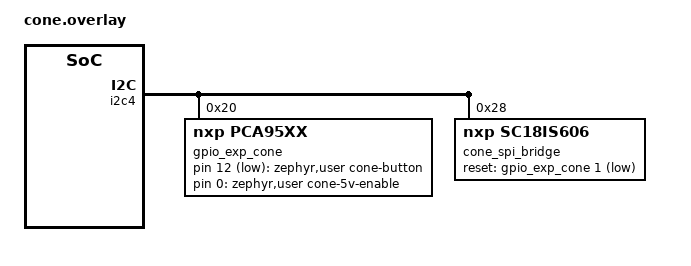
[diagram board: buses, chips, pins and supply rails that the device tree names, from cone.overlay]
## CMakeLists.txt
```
cmake_minimum_required(VERSION 3.20.0)
set(TARGET app)

get_filename_component(PROJECT_DIR ${CMAKE_CURRENT_SOURCE_DIR}/.. ABSOLUTE)
if (EXISTS ${PROJECT_DIR}/../public)
    get_filename_component(WORKSPACE_DIR ${PROJECT_DIR}/../../ ABSOLUTE)
else()
    get_filename_component(WORKSPACE_DIR ${PROJECT_DIR}/../ ABSOLUTE)
endif()

message(STATUS "Project directory: ${PROJECT_DIR}")
message(STATUS "Workspace directory: ${WORKSPACE_DIR}")

set(APP_FILES_COMPILE_OPTIONS -Wextra)
if ("${CMAKE_BUILD_TYPE}" STREQUAL "Release")
    message(STATUS "⚡️Release image: maximum optimization for speed")

    # Add configuration file to overwrite debug configuration
    list(APPEND OVERLAY_CONFIG "release.conf")
elseif ("${CMAKE_BUILD_TYPE}" STREQUAL "Service")
    message(STATUS "🛠️ Service image: optimized for size, logging & CLI enabled")

    set(PEARL_MAIN_EXTEND_PARTITION 1)
    set(OVERLAY_CONFIG
            "debug.conf service.conf ${OVERLAY_CONFIG}"
            CACHE STRING "" FORCE)
    set(DTC_OVERLAY_FILE
            "debug.overlay;${DTC_OVERLAY_FILE}"
            CACHE STRING "" FORCE)
else ()
    message(STATUS "⚙️ Debug image: minimal optimization, debug info included, logging & CLI enabled")
    add_compile_options(-Og -g)

    set(PEARL_MAIN_EXTEND_PARTITION 1)
    set(OVERLAY_CONFIG
            "debug.conf ${OVERLAY_CONFIG}"
            CACHE STRING "" FORCE)
    set(DTC_OVERLAY_FILE
            "debug.overlay;${DTC_OVERLAY_FILE}"
            CACHE STRING "" FORCE)
endif ()

# Generate version for the current project
# CMake will re-run if file "VERSION" changes
include(${PROJECT_DIR}/utils/cmake/version.cmake)
application_version(APP_VERSION)
message(STATUS "Application version: ${APP_VERSION}")
set_property(
    DIRECTORY
    APPEND
    PROPERTY CMAKE_CONFIGURE_DEPENDS ${PROJECT_DIR}/VERSION
)

# optional Orb variable allows to select the board
if ("$ENV{ORB}" STREQUAL "pearl")
    unset(BOARD CACHE)
    set(ENV{BOARD} pearl_main)
elseif ("$ENV{ORB}" STREQUAL "diamond")
    unset(BOARD CACHE)
    set(ENV{BOARD} diamond_main)
endif ()

list(APPEND BOARD_ROOT ${PROJECT_DIR})
list(APPEND DTS_ROOT ${PROJECT_DIR})

# Load private & custom board configuration.
# Private config is not available publicly as the name suggests.
# The package is thus optional.
list(APPEND CMAKE_MODULE_PATH ${WORKSPACE_DIR}/orb/private/utils/cmake)
find_package(McuPrivate)

# Add a common dts overlay necessary to ensure the app is linked into,
# and fits inside, the slot0 partition. (If the user specified a
# DTC_OVERLAY_FILE on the CMake command line, we need to append onto
# the list).
list(APPEND DTC_OVERLAY_FILE ${CMAKE_CURRENT_LIST_DIR}/dts.overlay)

# for pearl_main board service & debug image, the image won't fit so we extends the partition size
if (PEARL_MAIN_EXTEND_PARTITION AND ${BOARD} STREQUAL "pearl_main")
    message(WARNING "Extending partition size for pearl_main to fit service/debug images, DFU won't be possible.")
    list(APPEND DTC_OVERLAY_FILE one_slot.overlay)
endif()
message(STATUS "Using DTC overlay files: ${DTC_OVERLAY_FILE}")

# In case we don't use West to build, add our local modules to the list
list(APPEND ZEPHYR_EXTRA_MODULES ${PROJECT_DIR})

find_package(Zephyr REQUIRED HINTS $ENV{ZEPHYR_BASE})
project(orb-mcu-main-app)

# SINE_TABLE_LENGTH defined for values from 0 to pi/2 (0..1)
set(SINE_TABLE_LENGTH 150)
add_compile_definitions(SINE_TABLE_LENGTH=${SINE_TABLE_LENGTH})
set(SINE_LUT_SRC_FILE ${CMAKE_BINARY_DIR}/zephyr/sine_lut.c)
add_custom_command(OUTPUT ${SINE_LUT_SRC_FILE}
    COMMAND ${PYTHON_EXECUTABLE} ${PROJECT_DIR}/utils/math/generate_half_sine.py ${SINE_TABLE_LENGTH} > ${SINE_LUT_SRC_FILE})

set(SOURCES_FILES)
# common source files
list(APPEND SOURCES_FILES
    src/main.c

    src/optics/optics.c
    src/optics/1d_tof/tof_1d.c
    src/optics/ir_camera_system/ir_camera_timer_settings.c
    src/optics/ir_camera_system/ir_camera_system_hw.c
    src/optics/ir_camera_system/ir_camera_system.c
    src/optics/liquid_lens/liquid_lens.c
    src/optics/mirror/mirror.c
    src/optics/mirror/mirror_private.c

    src/power/boot/boot.c

    src/pubsub/pubsub.c
    src/runner/runner.c

    src/system/config/config.c
    src/system/diag.c
    src/system/logs.c
    src/system/ping_sec.c
    src/system/version/version.c
    src/system/stm32_timer_utils/stm32_timer_utils.c

    src/temperature/sensors/temperature.c
    src/temperature/fan/fan.c
    src/temperature/fan/fan_tests.c

    src/voltage_measurement/voltage_measurement.c

    ${SINE_LUT_SRC_FILE}
    src/ui/ui.c
    src/ui/ambient_light/als.c
    src/ui/button/button.c
    src/ui/rgb_leds/rgb_leds.c
    src/ui/rgb_leds/front_leds/front_leds.c
    src/ui/rgb_leds/operator_leds/operator_leds.c
    src/ui/rgb_leds/operator_leds/operator_leds_tests.c
    src/ui/sound/sound.c
    )

if (CONFIG_BOARD_PEARL_MAIN)
    list(APPEND SOURCES_FILES
            src/gnss/gnss.c
            src/optics/mirror/homing_pearl.c
            src/optics/ir_camera_system/ir_leds_checks_pearl.c
            src/power/battery/battery_ruby.c
            src/temperature/fan/fan_tach.c
            src/temperature/fan/fan_tach.c)
endif()

if (CONFIG_BOARD_DIAMOND_MAIN)
    list(APPEND SOURCES_FILES
        src/optics/mirror/homing_diamond.c
        src/optics/ir_camera_system/ir_leds_checks_diamond.c
        src/optics/polarizer_wheel/drv8434s/drv8434s_private.c
        src/optics/polarizer_wheel/drv8434s/drv8434s.c
        src/optics/polarizer_wheel/polarizer_wheel.c
        src/power/battery/battery_amber.c
        src/temperature/fan/fan_tach_coarse.c
        src/ui/nfc/nfc.c
        src/ui/white_leds/white_leds.c
    )
    if (CONFIG_DT_HAS_DIAMOND_CONE_ENABLED)
        list(APPEND SOURCES_FILES src/ui/rgb_leds/cone_leds/cone_leds.c)
    endif()
endif()

if (CONFIG_ZTEST)
    list(APPEND SOURCES_FILES
        src/voltage_measurement/voltage_measurement_tests.c
        src/optics/ir_camera_system/ir_camera_system_tests.c
        src/optics/mirror/mirror_tests.c
        src/system/dfu/dfu_tests.c
        src/temperature/fan/fan_tests.c
        src/ui/rgb_leds/front_leds/front_leds_tests.c
        )
    if (CONFIG_TEST_CONFIG)
        list(APPEND SOURCES_FILES src/system/config/config_tests.c)
    endif()
    if (CONFIG_NO_JETSON_BOOT)
        list(REMOVE_ITEM SOURCES_FILES src/pubsub/pubsub.c)
        list(APPEND SOURCES_FILES src/pubsub/pubsub_tests.c)
    endif()
    if (CONFIG_BOARD_DIAMOND_MAIN)
        list(APPEND SOURCES_FILES
            src/ui/rgb_leds/cone_leds/cone_leds_tests.c
            src/optics/polarizer_wheel/polarizer_wheel_tests.c)
    endif()
endif ()

if (CONFIG_SHELL)
    list(APPEND SOURCES_FILES src/cli/cli.c)
endif ()

if (CONFIG_TRACING_USER)
    list(APPEND SOURCES_FILES src/system/tracing_user.c)
endif()

if (CONFIG_MEMFAULT_METRICS)
    list(APPEND SOURCES_FILES src/system/metrics.c)
endif()

set(INCLUDE_DIRS
    include
    src
    )

# EXTRA_COMPILE_FLAGS given via `west build -- -DEXTRA_COMPILE_FLAGS=...`
set_source_files_properties(${SOURCES_FILES} PROPERTIES COMPILE_OPTIONS "${APP_FILES_COMPILE_OPTIONS};${EXTRA_COMPILE_FLAGS}")

target_sources(${TARGET} PRIVATE ${SOURCES_FILES})
target_include_directories(${TARGET} PRIVATE ${INCLUDE_DIRS})
zephyr_include_directories(config)

zephyr_linker_sources(SECTIONS
        config/compact-logs.ld
        config/orb-states.ld)

# link with Zephyr modules below
# - bootloader/mcuboot/boot/bootutil: public functions to access/modify mcuboot data from the application
if (CONFIG_MCUBOOT_BOOTUTIL_LIB)
    # check path is absolute
    if (IS_ABSOLUTE ${CONFIG_MCUBOOT_SIGNATURE_KEY_FILE})
        set(MCUBOOT_SIGNATURE_KEY_FILE ${CONFIG_MCUBOOT_SIGNATURE_KEY_FILE})
    else ()
        set(MCUBOOT_SIGNATURE_KEY_FILE ${WEST_TOPDIR}/${CONFIG_MCUBOOT_SIGNATURE_KEY_FILE})
    endif ()
    if (IS_ABSOLUTE ${CONFIG_MCUBOOT_ENCRYPTION_KEY_FILE})
        set(MCUBOOT_ENCRYPTION_KEY_FILE ${CONFIG_MCUBOOT_ENCRYPTION_KEY_FILE})
    else ()
        set(MCUBOOT_ENCRYPTION_KEY_FILE ${WEST_TOPDIR}/${CONFIG_MCUBOOT_ENCRYPTION_KEY_FILE})
    endif ()
    # check if files exist
    if (NOT EXISTS "${MCUBOOT_SIGNATURE_KEY_FILE}" OR NOT EXISTS "${MCUBOOT_ENCRYPTION_KEY_FILE}")
        message(FATAL_ERROR "Missing signature files, use 'generate_dev_keys'")
    else ()
        message(STATUS "Using signature key file: ${MCUBOOT_SIGNATURE_KEY_FILE}")
        message(STATUS "Using encryption key file: ${MCUBOOT_ENCRYPTION_KEY_FILE}")
    endif ()
    zephyr_link_libraries(MCUBOOT_BOOTUTIL)
endif ()
```

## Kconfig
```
menu "Main MCU Options"

menu "Log levels"
rsource "log_levels.Kconfig"
endmenu

config RDP_ENABLE
    bool "Enable RDP (Readout Protection)"
    default n
    select USE_STM32_HAL_RTC
    select USE_STM32_HAL_RTC_EX
    select USE_STM32_HAL_PWR
    help
      Enable RDP on STM32G4. This will prevent reading the content of the STM32G4
      memory with a debugger. This is useful for production
      devices, but not for development.

config PROXIMITY_DETECTION_FOR_IR_SAFETY
    bool "Ensure safe usage of IR LEDs."
    default y
    help
        Use 1d-tof sensor to detect any object in close proximity and disable IR LED.

comment "Diamond options"

config DT_HAS_DIAMOND_CONE_ENABLED
	def_bool $(dt_nodelabel_enabled,cone_spi_bridge)
	select SC18IS606

config JETSON_FIRST_MESSAGE_TIMEOUT
    bool "Reset the Orb if Jetson never sends a message after boot"
    depends on BOARD_DIAMOND_MAIN
    default y
    help
      If no Jetson message is received within
      CONFIG_JETSON_FIRST_MESSAGE_TIMEOUT_S of the Jetson being powered on,
      assume it's dead/unresponsive and reset the MCU (NVIC_SystemReset),
      which power-cycles the whole Orb.

config JETSON_FIRST_MESSAGE_TIMEOUT_S
    int "Timeout before JETSON_FIRST_MESSAGE_TIMEOUT resets the Orb"
    depends on JETSON_FIRST_MESSAGE_TIMEOUT
    default 600
    help
      Number of seconds after the Jetson is powered on to wait for the
      first Jetson message before resetting the Orb. Overridable per build
      (e.g. for bench/HIL verification without waiting 10 minutes).

comment "Developer options"

config HIL_TESTS
    bool "Enable hardware-in-the-loop tests"
    default n
    select INSTA_BOOT
    select NO_JETSON_BOOT
    select APP_TESTS_ALL
    help
      Enable hardware-in-the-loop tests. This will enable a set of
      integration tests that can be run with the HIL test setup.

config INSTA_BOOT
    bool "Boot right away without waiting for a button press"
    default n

config NO_JETSON_BOOT
    bool "Do not boot the Jetson"
    default n

config NO_SUPER_CAPS
    bool "Do not turn on super capacitor charging"

config MCU_DEVEL
    bool "Enable all developer options"
    select INSTA_BOOT
    select NO_JETSON_BOOT
    select NO_SUPER_CAPS

comment "Integration tests"

config TEST_VOLTAGE_MEASUREMENT
    bool "Test the supply voltages"

config TEST_MIRROR
    bool "Test the mirror control"

config TEST_DFU
    bool "Test device firmware upgrade"

config TEST_OPERATOR_LEDS
    bool "Test operator LEDs"

config TEST_USER_LEDS
    bool "Test user/front LEDs"
    help
      Tests all the user LED patterns. Visual inspection is needed to check
      for correct pattern implementation.

config TEST_IR_CAMERA_SYSTEM_WITH_PROBE
    bool "Test the IR camera system"
    help
      The IR/Camera test has to be verified using a scope
      or logic analyzer.

config TEST_FAN
    bool "Test fan"

config TEST_GNSS
	bool "Test GNSS frame parsing"

config TEST_POLARIZER_WHEEL
    bool "Test polarizer wheel (Diamond only)"
    depends on BOARD_DIAMOND_MAIN
    help
      Test polarizer wheel homing and positioning.
      Requires Diamond hardware with polarizer wheel installed.

config TEST_CONFIG
    bool "Test persistent config module"

config APP_TESTS_ALL
    bool "Enable all integration tests"
    select TEST_VOLTAGE_MEASUREMENT
    select TEST_MIRROR
    select TEST_DFU
    select TEST_OPERATOR_LEDS
    select TEST_USER_LEDS
    select TEST_GNSS
    select TEST_POLARIZER_WHEEL if BOARD_DIAMOND_MAIN
    select ORB_LIB_STORAGE_TESTS
    select TEST_CONFIG

config CI_INTEGRATION_TESTS
	bool "Send specific string in logs when testing UART with mcu-util"
	default n
	select NO_SUPER_CAPS
	help
	  UART communication is unidirectional and doesn't allow
	  the MCU to respond to the Jetson. To allow the Jetson to confirm
	  that the MCU is receiving its UART messages, this option configures
	  the MCU to emit a special log message when it successfully receives UART
	  communications from the Jetson. The Jetson can then look for this special
	  log message to confirm the UART channel to the MCU is working.

endmenu

menu "Zephyr Options"
source "Kconfig.zephyr"
endmenu
```

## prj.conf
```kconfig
# Common configuration for main MCU firmware

CONFIG_CLOCK_CONTROL=y
CONFIG_PINCTRL=y
CONFIG_SERIAL=y
CONFIG_GPIO=y

CONFIG_THREAD_CUSTOM_DATA=y
# needed for Memfault stack usage computation
CONFIG_INIT_STACKS=y
CONFIG_THREAD_STACK_INFO=y

CONFIG_MAIN_THREAD_PRIORITY=5
CONFIG_MAIN_STACK_SIZE=2048

CONFIG_SYSTEM_WORKQUEUE_STACK_SIZE=2048

CONFIG_HEAP_MEM_POOL_SIZE=256

CONFIG_RTC=y
CONFIG_RTC_STM32=y

CONFIG_BBRAM=y
CONFIG_BBRAM_STM32=y

# Data structures
CONFIG_RING_BUFFER=y

# UART
CONFIG_UART_ASYNC_API=y

# Floating Point Options
CONFIG_PICOLIBC=y
CONFIG_PICOLIBC_IO_FLOAT=y
CONFIG_FPU=y
CONFIG_FPU_SHARING=y

# CAN bus
CONFIG_CAN=y
CONFIG_CAN_FD_MODE=y
# automatic recovery doesn't work so recover manually FIXME
CONFIG_CAN_MANUAL_RECOVERY_MODE=y
CONFIG_CAN_ADDRESS_JETSON_TO_MCU_RX=0x01
# Jetson address
CONFIG_CAN_ADDRESS_MCU_TO_JETSON_TX=0x80
# MCU-to-MCU communication address
CONFIG_CAN_ADDRESS_MCU_TO_MCU_RX=0x41
# 4-bit ID used to create addresses
CONFIG_CAN_ISOTP_REMOTE_ID=0x8
CONFIG_CAN_ISOTP_LOCAL_ID=0x1
CONFIG_CAN_ISOTP_MAX_SIZE_BYTES=690
CONFIG_ORB_LIB_CAN_ISOTP_BLOCKSIZE=8

# ISO-TP config, no log from ISO-TP module
CONFIG_ISOTP=y
CONFIG_ISOTP_FC_DELAY_US=100

# RX_BUF is used to receive one block. 56-byte long: BS=8 and CAN_DL-1=7 + FF (6), 8*7+6=62
CONFIG_ISOTP_RX_BUF_SIZE=62
# We need at least 10 buffers to receive messages of 560-byte long (CONFIG_ISOTP_RX_BUF_SIZE*10)
# With several rx contexts, allocate at least twice this amount
CONFIG_ISOTP_RX_BUF_COUNT=20
# We have 8 rx contexts, so allocate that amount of buffers for First Frames or Single Frames
CONFIG_ISOTP_RX_SF_FF_BUF_COUNT=8

# PWM
CONFIG_PWM_STM32=y
CONFIG_PWM=y

# ADC
CONFIG_ADC=y
CONFIG_ADC_STM32=y
CONFIG_ADC_STM32_DMA=y

# Sensors
CONFIG_SENSOR=y
CONFIG_TMP112=y
CONFIG_MAX31875=y
CONFIG_VL53L1X=y
CONFIG_VL53L1X_INTERRUPT_MODE=n
CONFIG_VL53L1X_XSHUT=n

# I2C
CONFIG_I2C=y
CONFIG_I2C_STM32=y
CONFIG_I2C_INIT_PRIORITY=60

# SPI
CONFIG_SPI=y
CONFIG_SPI_STM32_INTERRUPT=y

# Stepper motor controller
CONFIG_STEPPER=y

# Our custom modules
CONFIG_NANOPB=y
CONFIG_ORB_MCU_MESSAGING_LIB=y
CONFIG_ORB_LIB_CAN_MESSAGING=y
CONFIG_ORB_LIB_UART_MESSAGING=y
CONFIG_ORB_LIB_ERRORS=y
CONFIG_ORB_LIB_DATE=y
CONFIG_ORB_LIB_DFU=y
CONFIG_ORB_LIB_STORAGE=y
CONFIG_WATCHDOG=y
CONFIG_ORB_LIB_WATCHDOG=y
CONFIG_ORB_LIB_WATCHDOG_SYS_INIT=y
CONFIG_ORB_LIB_HEALTH_MONITORING=y
CONFIG_ORB_LIB_THREAD_STACK_SIZE_HEARTBEAT=800
CONFIG_ORB_LIB_LOGS_CAN=y
# Same priority as CAN RX and TX threads to make sure other threads cannot block DFU
# and brick the device
CONFIG_ORB_LIB_THREAD_PRIORITY_CANBUS_RX=5
CONFIG_ORB_LIB_THREAD_PRIORITY_CANBUS_TX=5
CONFIG_ORB_LIB_THREAD_PRIORITY_DFU=8
CONFIG_ORB_LIB_THREAD_STACK_SIZE_DFU=3000

# DMA
CONFIG_DMA=y
CONFIG_DMA_STM32=y

# Interrupt handling
CONFIG_DYNAMIC_INTERRUPTS=y

# Bootloader
# Enable Zephyr application to be booted by MCUboot
CONFIG_BOOTLOADER_MCUBOOT=y
# Path to signature file. Must be absolute or relative to West top dir
# dev key, redefined for production
CONFIG_MCUBOOT_SIGNATURE_KEY_FILE="orb/utils/ota/root-ec-p256.pem"
CONFIG_MCUBOOT_ENCRYPTION_KEY_FILE="orb/utils/ota/enc-ec256-pub.pem"
CONFIG_MCUBOOT_BOOTUTIL_LIB=y
CONFIG_BOOT_BANNER=n

# Flash management, needed for DFU
CONFIG_FLASH=y
CONFIG_FLASH_MAP=y
CONFIG_FLASH_STM32_READOUT_PROTECTION=y
CONFIG_FLASH_EX_OP_ENABLED=y
CONFIG_RDP_ENABLE=y

CONFIG_REBOOT=y

# entropy driver needed for STACK_CANARIES & STACK_RANDOM_POINTER in release mode
# also needed when testing errors
CONFIG_ENTROPY_GENERATOR=y

CONFIG_CRC=y

CONFIG_LED_STRIP=y

CONFIG_GNU_C_EXTENSIONS=y
CONFIG_STD_C23=y
```

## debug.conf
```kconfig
# Configuration file for the main MCU firmware when compiled in Debug / Dev mode

CONFIG_DEBUG_OPTIMIZATIONS=y
# -fstore-merging is needed to reduce code used by logging subsystem
CONFIG_COMPILER_OPT="-O1 -g3 -fstore-merging"

# Debug mode
CONFIG_DEBUG=y

# Verbose verifications
CONFIG_ASSERT=y
CONFIG_SPIN_VALIDATE=y
CONFIG_TRACING=y
CONFIG_TRACING_USER=y

# Console
CONFIG_CONSOLE=y
CONFIG_UART_CONSOLE=y

# In Debug mode, Zephyr's logging is enabled
CONFIG_LOG=y
CONFIG_LOG_DEFAULT_LEVEL=2
# Switch between deferred and immediate
# Prefer the deferred mode so that the logging thread, which has the lowest priority
# runs every CONFIG_LOG_PROCESS_THREAD_SLEEP_MS in the background (doesn't take CPU time to print the log)
CONFIG_LOG_MODE_DEFERRED=y
# CONFIG_LOG_MODE_IMMEDIATE=y
# Logs over CAN
CONFIG_ORB_LIB_LOG_BACKEND_CAN=y
# Logs over UART
CONFIG_LOG_BACKEND_UART=y
CONFIG_LOG_BUFFER_SIZE=2048
CONFIG_LOG_BACKEND_UART_BUFFER_SIZE=128
CONFIG_CBPRINTF_LIBC_SUBSTS=y
CONFIG_CBPRINTF_NANO=y
CONFIG_LOG_PROCESS_THREAD=y
CONFIG_LOG_PROCESS_THREAD_SLEEP_MS=100
CONFIG_LOG_PROCESS_TRIGGER_THRESHOLD=2
CONFIG_LOG_PROCESS_THREAD_STACK_SIZE=4096
CONFIG_ORB_LIB_LOG_BACKEND_CAN=y
CONFIG_LOG_PRINTK=y
CONFIG_LOG_BACKEND_SHOW_COLOR=y

# Per module
CONFIG_KERNEL_LOG_LEVEL_WRN=y
CONFIG_MAIN_LOG_LEVEL_INF=y
CONFIG_VERSION_LOG_LEVEL_INF=y
CONFIG_ASSERT_LOG_LEVEL_WRN=y
CONFIG_BOOT_LOG_LEVEL_INF=y
CONFIG_POLARIZER_LOG_LEVEL_INF=y
CONFIG_IR_LEDS_CHECKS_LOG_LEVEL_INF=y

# Uncomment to enable thread analyzer
# CONFIG_THREAD_ANALYZER=y
# CONFIG_THREAD_ANALYZER_USE_PRINTK=y
# CONFIG_THREAD_ANALYZER_AUTO=y
# CONFIG_THREAD_ANALYZER_AUTO_INTERVAL=5
# CONFIG_THREAD_NAME=y

# thread awareness
# openOCD with Zephyr patch is needed
CONFIG_DEBUG_THREAD_INFO=y

CONFIG_ZTEST=y
CONFIG_ZTEST_STACK_SIZE=3000

CONFIG_SHELL=y
CONFIG_SHELL_MINIMAL=y
CONFIG_SHELL_PROMPT_UART="main:~$ "
CONFIG_SHELL_LOG_BACKEND=n
CONFIG_SHELL_TAB=y
CONFIG_SHELL_TAB_AUTOCOMPLETION=y
CONFIG_SHELL_VT100_COLORS=y
CONFIG_SHELL_HISTORY=y
#CONFIG_I2C_SHELL=y
#CONFIG_CAN_SHELL=y
CONFIG_BBRAM_SHELL=y
CONFIG_ZTEST_SHELL=y
```

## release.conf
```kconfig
# Configuration file for the main MCU firmware when compiled in Release / Production mode

# Compiler options
CONFIG_SIZE_OPTIMIZATIONS=y

# In release mode, logs are redirected through simpler printk
# we don't use CONFIG_LOG_MODE_MINIMAL which provides the same
# end result because it induces more code in the final binary
# Instead LOG_ERR/LOG_WRN are redefined to printk
CONFIG_LOG=n
CONFIG_LOG_PRINTK=n
CONFIG_PRINTK=y
CONFIG_PRINTK_SYNC=y
CONFIG_CBPRINTF_NANO=y

# disable Zephyr asserts
CONFIG_ASSERT=n
CONFIG_SPIN_VALIDATE=n

# Security hardening for production releases
#                        name   |  current | recommended ||  check result
# =========================================================================
# CONFIG_LOG                    |     y    |      n      ||      FAIL: log through CAN backend
# CONFIG_BUILD_OUTPUT_STRIPPED  |     n    |      y      ||      FAIL: useless, we ship stripped binaries
# CONFIG_FAULT_DUMP             |     1    |      0      ||      FAIL: short dump sent through CAN
# CONFIG_STACK_SENTINEL         |     n    |      y      ||      FAIL: HW_STACK_PROTECTION is used
# CONFIG_UART_ASYNC_API         |     y    |      n      ||      FAIL: needed for Jetson->main mcu com
# Prevent overwriting the stack frame, /!\ high footprint
CONFIG_STACK_CANARIES_STRONG=y
# /!\ Uses 64 bytes more in threads stack
CONFIG_STACK_POINTER_RANDOM=64
CONFIG_OVERRIDE_FRAME_POINTER_DEFAULT=y
# Sentinel not used in favor of HW_STACK_PROTECTION
CONFIG_STACK_SENTINEL=n
# shorten fault dumps
CONFIG_FAULT_DUMP=1
# entropy driver needed for STACK_CANARIES & STACK_RANDOM_POINTER
CONFIG_ENTROPY_GENERATOR=y

# for Memfault reboot reason
CONFIG_HWINFO=y

# Memfault configuration
CONFIG_MEMFAULT=y
CONFIG_MEMFAULT_METRICS=y
CONFIG_MEMFAULT_METRICS_BATTERY_ENABLE=y
CONFIG_MEMFAULT_METRICS_CPU_TEMP=n
CONFIG_MEMFAULT_METRICS_HEARTBEAT_INTERVAL_SECS=900
CONFIG_MEMFAULT_USER_CONFIG_SILENT_FAIL=n
CONFIG_MEMFAULT_HEAP_STATS=n # no heap
CONFIG_MEMFAULT_COMPACT_LOG=y
CONFIG_MEMFAULT_REBOOT_REASON_CUSTOM_ENABLE=y
CONFIG_MEMFAULT_RAM_BACKED_COREDUMP_SIZE=7500
# coredumps settings (with size MEMFAULT_RAM_BACKED_COREDUMP_SIZE)
CONFIG_MEMFAULT_COREDUMP_FULL_THREAD_STACKS=n
CONFIG_MEMFAULT_COREDUMP_STACK_SIZE_TO_COLLECT=512
CONFIG_MEMFAULT_COREDUMP_COLLECT_BSS_REGIONS=y
CONFIG_MEMFAULT_COREDUMP_COLLECT_STACK_REGIONS=y
CONFIG_MEMFAULT_PLATFORM_LOG_FALLBACK_TO_PRINTK=n
CONFIG_MEMFAULT_SYSTEM_TIME_SOURCE_RTC=y

CONFIG_THREAD_RUNTIME_STATS=y
```

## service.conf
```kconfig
CONFIG_SIZE_OPTIMIZATIONS=y
CONFIG_APP_TESTS_ALL=y
```

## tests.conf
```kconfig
CONFIG_DEBUG_OPTIMIZATIONS=y
CONFIG_COMPILER_OPT="-O1 -g3 -fstore-merging"

# Debug mode
CONFIG_DEBUG=y

# boot without using the button
# do not boot the Jetson to run all tests
CONFIG_INSTA_BOOT=y
CONFIG_NO_JETSON_BOOT=y

# Debug-only logging settings
CONFIG_LOG_PRINTK=y
CONFIG_LOG_BACKEND_SHOW_COLOR=y
# Per module
CONFIG_KERNEL_LOG_LEVEL_WRN=y
# CONFIG_TEMPERATURE_LOG_LEVEL_DBG=y
# CONFIG_BATTERY_LOG_LEVEL_DBG=y
# CONFIG_GNSS_LOG_LEVEL_DBG=y
# CONFIG_RUNNER_LOG_LEVEL_DBG=y
# CONFIG_PUBSUB_LOG_LEVEL_DBG=y
CONFIG_UART_MESSAGING_LOG_LEVEL_INF=y
CONFIG_FRONT_UNIT_RGB_LEDS_LOG_LEVEL_INF=y
CONFIG_FAN_TACH_LOG_LEVEL_WRN=y
CONFIG_DFU_LOG_LEVEL_DBG=y
CONFIG_TOF_1D_LOG_LEVEL_WRN=y
CONFIG_ALS_LOG_LEVEL_WRN=y

# Uncomment to enable thread analyzer
# CONFIG_THREAD_ANALYZER=y
# CONFIG_THREAD_ANALYZER_USE_PRINTK=y
# CONFIG_THREAD_ANALYZER_AUTO=y
# CONFIG_THREAD_ANALYZER_AUTO_INTERVAL=5
# CONFIG_THREAD_NAME=y

CONFIG_ZTEST=y
CONFIG_ZTEST_STACK_SIZE=3000

# enable all runtime tests
# note that IR/Camera test isn't enabled
CONFIG_APP_TESTS_ALL=y
CONFIG_ORB_LIB_STORAGE_TESTS=y
#CONFIG_STORAGE_LOG_LEVEL_DBG=y

# don't generate an OTA image as it won't fit anyway
CONFIG_MCUBOOT_SIGNATURE_KEY_FILE=""
CONFIG_MCUBOOT_ENCRYPTION_KEY_FILE=""
CONFIG_MCUBOOT_GENERATE_UNSIGNED_IMAGE=y
CONFIG_MCUBOOT_BOOTLOADER_MODE_SINGLE_APP=y

CONFIG_SHELL=n
```

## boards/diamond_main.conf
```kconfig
# enable GPIO
CONFIG_GPIO_PCA95XX=y

# I2C and SPI multiplexers
CONFIG_I2C_MUX_GPIO=y
CONFIG_I2C_MUX_GLOBAL_LOCK=y
CONFIG_SPI_MUX_GPIO=y

CONFIG_I2C_INIT_PRIORITY=47
 # pca95xx after I2C
CONFIG_GPIO_PCA95XX_INIT_PRIORITY=48
# led self-test priority after pca95xx and before spi, so 48
CONFIG_SPI_INIT_PRIORITY=49
# spi mux after pca95xx
CONFIG_SPI_MUX_GPIO_INIT_PRIO=50
CONFIG_SPI_MUX_GPIO_CHANNEL_INIT_PRIO=51
# LED strip after spi mux
CONFIG_LED_STRIP_INIT_PRIORITY=52

CONFIG_SPI_RGB_LED=y
# SPI with DMA for LED strip
CONFIG_SPI_STM32_DMA=y

CONFIG_SPI_RGB_LED_DIMMING=y
CONFIG_APA102_STRIP=y

#CONFIG_VL53L1X_PROXIMITY_RANGE_MINIMUM=35

CONFIG_SHARED_INTERRUPTS=y
```

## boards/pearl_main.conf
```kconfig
# Comm with main battery
CONFIG_CAN_ACCEPT_RTR=y

# initialize after button is pressed
CONFIG_SPI_INIT_PRIORITY=60

# LED Strips
CONFIG_LED_STRIP=y
CONFIG_WS2812_PWM_STM32=y

# ALS
CONFIG_BU27030=y
```

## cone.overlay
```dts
// /!\ Old cone design, to be updated /!\

/ {
    zephyr,user {
        cone-button-gpios = <&gpio_exp_cone 12 GPIO_ACTIVE_LOW>;
        cone-5v-enable-gpios = <&gpio_exp_cone 0 GPIO_ACTIVE_HIGH>;
    }
};

&i2c4 {
    gpio_exp_cone: pca95xx@20 {
        compatible = "nxp,pca95xx";
        reg = <0x20>;
        gpio-controller;
        #gpio-cells = <2>;
        ngpios = <16>;
        status = "okay";
    };

    cone_spi_bridge: sc18is606@28{
        status = "okay";
        reg = <0x28>;
        compatible = "nxp,sc18is606";
        #address-cells = <1>;
        #size-cells = <0>;
        reset-gpios = <&gpio_exp_cone 1 GPIO_ACTIVE_LOW>;

        cone_spi_bus: spi@0{
            status = "okay";
            compatible = "nxp,sc18is606-spi-master";
            reg = <0>;
            #address-cells = <1>;
            #size-cells = <0>;
            clock-frequency = <455000>;

            cone_rgb_leds:cone_rgb_leds@0{
                status = "okay";
                compatible = "we,spi-rgb-led";
                reg = <0>;
                spi-max-frequency = <455000>;
                // 'duplex' option exists but
                // not actually used by the SPI driver
                duplex = <SPI_HALF_DUPLEX>;

                num-leds = <64>;
            };
        };
    };
};
```

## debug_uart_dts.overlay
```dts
/ {
	chosen {
        zephyr,console = &usart2;
        zephyr,shell-uart = &usart2;
    };
};

&usart2 {
    status = "okay";
};
```

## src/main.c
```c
#include "mcu_ping.h"
#include "system/ping_sec.h"
#include "ui/nfc/nfc.h"
#if defined(CONFIG_BOARD_PEARL_MAIN)
#include "gnss/gnss.h"
#endif
#include "mcu.pb.h"
#include "optics/optics.h"
#include "power/battery/battery.h"
#include "power/boot/boot.h"
#include "pubsub/pubsub.h"
#include "runner/runner.h"
#include "system/version/version.h"
#include "temperature/fan/fan.h"
#include "temperature/fan/fan_tach.h"
#include "temperature/sensors/temperature.h"
#include "ui/ambient_light/als.h"
#include "ui/button/button.h"
#include "ui/rgb_leds/front_leds/front_leds.h"
#include "ui/sound/sound.h"
#include "ui/ui.h"
#include "voltage_measurement/voltage_measurement.h"
#include <app_assert.h>
#include <can_messaging.h>
#include <date.h>
#include <dfu.h>
#include <optics/polarizer_wheel/polarizer_wheel.h>
#include <orb_fatal.h>
#include <orb_state.h>
#include <pb_encode.h>

#include <zephyr/device.h>
#include <zephyr/kernel.h>

#if defined(CONFIG_ORB_LIB_LOGS_CAN)
#include "logs_can.h"
#endif

#ifdef CONFIG_MEMFAULT
#include "memfault/core/arch.h"
#include <memfault/core/reboot_tracking.h>
#endif

#if CONFIG_ORB_LIB_WATCHDOG
#include <watchdog.h>
#endif

#ifdef CONFIG_ORB_LIB_HEALTH_MONITORING
#include "heartbeat.h"
#include "system/logs.h"
#endif

#include "orb_logs.h"
#include "system/backup_regs.h"
LOG_MODULE_REGISTER(main, CONFIG_MAIN_LOG_LEVEL);

static bool jetson_up_and_running = false;

static K_MUTEX_DEFINE(analog_and_i2c_mutex);

#ifdef CONFIG_ZTEST
#include <zephyr/ztest.h>

// generic tests
ZTEST_SUITE(hil, NULL, NULL, NULL, NULL, NULL);
// hardware-related tests
ZTEST_SUITE(hardware, NULL, NULL, NULL, NULL, NULL);

// dfu unit tests
#include "system/dfu/dfu_tests.h"
ZTEST_SUITE(dfu, NULL, NULL, NULL, dfu_test_reset, NULL);

// ir camera unit tests
#include "optics/ir_camera_system/ir_camera_system.h"
ZTEST_SUITE(ir_camera, NULL, NULL, ir_camera_test_reset, ir_camera_test_reset,
            NULL);

#if CONFIG_ORB_LIB_STORAGE_TESTS
#include "storage_tests.h"
ZTEST_SUITE(storage, NULL, NULL, clean_storage, NULL, clean_storage);
#endif

#if CONFIG_TEST_CONFIG
#include "system/config/config_tests.h"
ZTEST_SUITE(config, NULL, NULL, clean_config, NULL, clean_config);
#endif

#if CONFIG_TEST_POLARIZER_WHEEL
#include "optics/polarizer_wheel/polarizer_wheel_tests.h"
ZTEST_SUITE(polarizer, NULL, NULL, NULL, polarizer_test_reset, NULL);
#endif

#endif

/**
 * @brief execute ZTests or other runtime tests
 */
static void
run_tests()
{
    int ret;
#ifdef CONFIG_BOARD_DIAMOND_MAIN
    ret = nfc_self_test(&analog_and_i2c_mutex);
    ASSERT_SOFT(ret);
#endif

    fan_tach_self_test();

    ret = voltage_measurement_selftest();
    ASSERT_SOFT(ret);

#if CONFIG_HIL_TESTS || (CONFIG_ZTEST && !CONFIG_ZTEST_SHELL)
    // Per default publishing of voltages is disabled
    // -> enable it for testing if voltage messages are published
    voltage_measurement_set_publish_period(1000);

    ztest_run_all(NULL, false, 1, 1);
    ztest_verify_all_test_suites_ran();
#endif

#if defined(CONFIG_ORB_LIB_ERRORS_TESTS)
    fatal_errors_trigger(FATAL_RANDOM);
#endif
}

/**
 * Callback called in fatal assertion before system reset
 * ⚠️ No context-switch should be performed:
 *     to be provided by the caller of this function
 */
static void
app_assert_cb(fatal_error_info_t *err_info)
{
    UNUSED_PARAMETER(err_info);

    /* it's safer to keep reboot reason first before trying to do anything
     * else that might fail (think stack overflow...) */
#ifdef CONFIG_MEMFAULT
    MEMFAULT_REBOOT_MARK_RESET_IMMINENT(kMfltRebootReason_HardAssert);
#endif

    // fatal error, try to warn Jetson
    static orb_mcu_McuMessage fatal_error = {
        .which_message = orb_mcu_McuMessage_m_message_tag,
        .message.m_message.which_payload =
            orb_mcu_main_McuToJetson_fatal_error_tag,
        .message.m_message.payload.fatal_error.reason =
            orb_mcu_FatalError_FatalReason_FATAL_ASSERT_HARD,
    };

    if (jetson_up_and_running) {
        static uint8_t buffer[CAN_FRAME_MAX_SIZE];
        pb_ostream_t stream = pb_ostream_from_buffer(buffer, sizeof(buffer));
        bool encoded = pb_encode_ex(&stream, orb_mcu_McuMessage_fields,
                                    &fatal_error, PB_ENCODE_DELIMITED);

        can_message_t to_send = {.destination =
                                     CONFIG_CAN_ADDRESS_MCU_TO_JETSON_TX,
                                 .bytes = buffer,
                                 .size = stream.bytes_written};

        if (encoded) {
            // important: send in blocking mode
            (void)can_messaging_blocking_tx(&to_send);
        }
    } else {
        /* last chance, but might fail */
        publish_store(&fatal_error, sizeof(fatal_error),
                      orb_mcu_sec_SecToJetson_fatal_error_tag,
                      CONFIG_CAN_ADDRESS_MCU_TO_JETSON_TX);
    }
}

/**
 * Called from thread so it's fine to call k_msleep
 * @return doesn't return
 */
static int
heartbeat_timeout_handler(void)
{
    const int32_t shutdown_delay_ms = 5000;
    const orb_mcu_main_ShutdownScheduled shutdown = {
        .shutdown_reason =
            orb_mcu_main_ShutdownScheduled_ShutdownReason_HEARTBEAT_TIMEOUT,
        .ms_until_shutdown = shutdown_delay_ms};
    publish_new((void *)&shutdown, sizeof(shutdown),
                orb_mcu_main_McuToJetson_shutdown_tag,
                CONFIG_CAN_ADDRESS_MCU_TO_JETSON_TX);

    k_msleep(shutdown_delay_ms);

    // ☠️
#ifdef CONFIG_MEMFAULT
    MEMFAULT_REBOOT_MARK_RESET_IMMINENT(
        kMfltRebootReason_HeartbeatFromJetsonTimeout);
#endif

    NVIC_SystemReset();
    return 0;
}

#if defined(CONFIG_JETSON_FIRST_MESSAGE_TIMEOUT)
static int
jetson_first_message_timeout_handler(void)
{
    if (runner_jetson_messages_count() > 0) {
        return 0;
    }

    const int32_t shutdown_delay_ms = 5000;
    const orb_mcu_main_ShutdownScheduled shutdown = {
        .shutdown_reason =
            orb_mcu_main_ShutdownScheduled_ShutdownReason_HEARTBEAT_TIMEOUT,
        .ms_until_shutdown = shutdown_delay_ms};
    publish_new((void *)&shutdown, sizeof(shutdown),
                orb_mcu_main_McuToJetson_shutdown_tag,
                CONFIG_CAN_ADDRESS_MCU_TO_JETSON_TX);

    k_msleep(shutdown_delay_ms);

#ifdef CONFIG_MEMFAULT
    MEMFAULT_REBOOT_MARK_RESET_IMMINENT(
        kMfltRebootReason_JetsonFirstMessageTimeout);
#endif

    NVIC_SystemReset();
    return 0;
}
#endif

static void
send_reset_reason(void)
{
    uint32_t reset_reason = fatal_get_status_register();
    if (reset_reason != 0) {
        orb_mcu_FatalError fatal_error = {0};
        if (IS_WATCHDOG(reset_reason)) {
            fatal_error.reason = orb_mcu_FatalError_FatalReason_FATAL_WATCHDOG;
            publish_new(&fatal_error, sizeof(fatal_error),
                        orb_mcu_main_McuToJetson_fatal_error_tag,
                        CONFIG_CAN_ADDRESS_MCU_TO_JETSON_TX);
        }
        if (IS_SOFTWARE(reset_reason)) {
            fatal_error.reason =
                orb_mcu_FatalError_FatalReason_FATAL_SOFTWARE_UNKNOWN;
            publish_new(&fatal_error, sizeof(fatal_error),
                        orb_mcu_main_McuToJetson_fatal_error_tag,
                        CONFIG_CAN_ADDRESS_MCU_TO_JETSON_TX);
        }
        if (IS_BOR(reset_reason)) {
            fatal_error.reason = orb_mcu_FatalError_FatalReason_FATAL_BROWNOUT;
            publish_new(&fatal_error, sizeof(fatal_error),
                        orb_mcu_main_McuToJetson_fatal_error_tag,
                        CONFIG_CAN_ADDRESS_MCU_TO_JETSON_TX);
        }
        if (IS_PIN(reset_reason)) {
            fatal_error.reason = orb_mcu_FatalError_FatalReason_FATAL_PIN_RESET;
            publish_new(&fatal_error, sizeof(fatal_error),
                        orb_mcu_main_McuToJetson_fatal_error_tag,
                        CONFIG_CAN_ADDRESS_MCU_TO_JETSON_TX);
        }
        if (IS_LOW_POWER(reset_reason)) {
            fatal_error.reason = orb_mcu_FatalError_FatalReason_FATAL_LOW_POWER;
            publish_new(&fatal_error, sizeof(fatal_error),
                        orb_mcu_main_McuToJetson_fatal_error_tag,
                        CONFIG_CAN_ADDRESS_MCU_TO_JETSON_TX);
        }
    }
}

__maybe_unused static void
wait_jetson_up(void)
{
    LOG_INF("Waiting for messages from the Jetson...");
#if defined(CONFIG_JETSON_FIRST_MESSAGE_TIMEOUT)
    const int64_t wait_started_ms = k_uptime_get();
    const int64_t timeout_ms =
        (int64_t)CONFIG_JETSON_FIRST_MESSAGE_TIMEOUT_S * MSEC_PER_SEC;
#endif

    // wait for Jetson to show activity before sending our version
    while (!jetson_up_and_running) {
        k_msleep(5000);
        const uint32_t jetson_messages_count = runner_jetson_messages_count();

        // as soon as the Jetson sends the first message, send firmware version
        if (jetson_messages_count > 0) {
            version_fw_send(CONFIG_CAN_ADDRESS_MCU_TO_JETSON_TX);

            uint32_t error_count = app_assert_soft_count();
            if (error_count) {
                LOG_ERR("Error count during boot: %u", error_count);
            }

            send_reset_reason();

            jetson_up_and_running = true;
        }

#if defined(CONFIG_JETSON_FIRST_MESSAGE_TIMEOUT)
        if (jetson_messages_count == 0 &&
            (k_uptime_get() - wait_started_ms) > timeout_ms) {
            LOG_ERR("No message received from Jetson within %us, resetting Orb",
                    CONFIG_JETSON_FIRST_MESSAGE_TIMEOUT_S);
            jetson_first_message_timeout_handler();
        }
#endif
    }
}

static int
send_mcu_ping(orb_mcu_Ping *ping)
{
    return publish_new(ping, sizeof(orb_mcu_Ping),
                       orb_mcu_main_MainToSec_ping_pong_tag,
                       CONFIG_CAN_ADDRESS_MCU_TO_MCU_TX);
}

static void
initialize(void)
{
    int err_code;

    fatal_init();

    err_code = pubsub_storage_init();
    ASSERT_SOFT(err_code);

    // initialize runner before communication modules
    runner_init();
    ping_init(send_mcu_ping);

    app_assert_init(app_assert_cb);

#if CONFIG_ORB_LIB_WATCHDOG && !(CONFIG_ORB_LIB_WATCHDOG_SYS_INIT)
    err_code = watchdog_init();
    ASSERT_SOFT(err_code);
#endif

#if CONFIG_ORB_LIB_CAN_MESSAGING
    err_code = can_messaging_init(runner_handle_new_can);
    ASSERT_SOFT(err_code);
#endif

#if CONFIG_ORB_LIB_UART_MESSAGING
    err_code = uart_messaging_init(runner_handle_new_uart);
    ASSERT_SOFT(err_code);
#endif

    err_code = version_init();
    ASSERT_SOFT(err_code);

    orb_mcu_Hardware hw = version_get();

    // voltage_measurement module is used by battery and boot -> must be
    // initialized before
    err_code = voltage_measurement_init(&hw, &analog_and_i2c_mutex);
    ASSERT_SOFT(err_code);

    // logs over CAN must be initialized after CAN-messaging module
#if defined(CONFIG_ORB_LIB_LOGS_CAN) && !CONFIG_NO_JETSON_BOOT
    err_code = logs_init(logs_can);
    ASSERT_SOFT(err_code);
#endif

#ifdef CONFIG_ORB_LIB_HEALTH_MONITORING
    heartbeat_register_cb(heartbeat_timeout_handler);
#endif

    // check battery state early on
    err_code = battery_init();
    ASSERT_SOFT(err_code);

#ifndef CONFIG_NO_JETSON_BOOT
    err_code = boot_turn_on_jetson();
    ASSERT_SOFT(err_code);
#endif // CONFIG_NO_JETSON_BOOT

    err_code = fan_init();
    ASSERT_SOFT(err_code);

    temperature_init(&hw, &analog_and_i2c_mutex);

    err_code = sound_init(&hw);
    ASSERT_SOFT(err_code);

    err_code = ui_init(&hw);
    ASSERT_SOFT(err_code);

    // first call to indicate boot progress
    front_leds_boot_progress_set(BOOT_PROGRESS_STEP_JETSON_BOOT);

    err_code = als_init(&hw, &analog_and_i2c_mutex);
    ASSERT_SOFT(err_code);

    err_code = dfu_init();
    ASSERT_SOFT(err_code);

    err_code = button_init();
    ASSERT_SOFT(err_code);

    ping_sec_init();

#if defined(CONFIG_BOARD_PEARL_MAIN)
    err_code = gnss_init();
    ASSERT_SOFT(err_code);
#endif

    // wait that jetson boots to enable super-caps as it's drawing a lot of
    // current that is needed for proper jetson boot
#if !defined(CONFIG_NO_SUPER_CAPS) && !defined(CONFIG_CI_INTEGRATION_TESTS)
    k_msleep(14000);
    err_code = boot_turn_on_super_cap_charger();
    if (err_code == RET_SUCCESS) {
        // Delay is to wait for super-cap to charge enough so that turning on
        // PVCC doesn't cause a brownout, which then disable PVCC (circuitry)
        // back and forth until stabilized. VCaps voltage is thus kept stable.
        // Ideally, we should measure the super-cap voltage but hardcoding a
        // delay works for now.
        k_msleep(6000);
        err_code = boot_turn_on_pvcc();
        if (err_code == RET_SUCCESS) {
            optics_init(&hw, &analog_and_i2c_mutex);
        } else {
            ASSERT_SOFT(err_code);
        }
    } else {
        ASSERT_SOFT(err_code);
    }
#else
    optics_init(&hw, &analog_and_i2c_mutex);
#endif // CONFIG_NO_SUPER_CAPS

    front_leds_boot_progress_set(BOOT_PROGRESS_STEP_OPTICS_INITIALIZED);

#if defined(CONFIG_BOARD_DIAMOND_MAIN)
    if (hw.version == orb_mcu_Hardware_OrbVersion_HW_VERSION_DIAMOND_V4_4 ||
        hw.version == orb_mcu_Hardware_OrbVersion_HW_VERSION_DIAMOND_EVT) {
        // on diamond evt, timer2 is used by fan tach & stepper but
        // pwm cannot be used as output and input for same timer
        // so we default to polarizer if one is detected
        // wait 15 seconds for polarizer homing to finish, if unsuccessful (no
        // polarizer dectected?): use fan tach
        k_msleep(15000);
        if (!polarizer_wheel_homed()) {
            err_code = fan_tach_init();
            ASSERT_SOFT(err_code);
        }
    } else {
        err_code = fan_tach_init();
        ASSERT_SOFT(err_code);
    }
#else
    err_code = fan_tach_init();
    ASSERT_SOFT(err_code);
#endif

    // done booting
    LOG_INF("🚀");
}

/* this is main()
 * but because ztest defines its own `main`, we need
 * to call it from `test_main` in case ztest is used,
 * or our own `main` - see below
 */
int
main_internal(void)
{
    initialize();
    run_tests();

    date_print();

    // print states and test results
#ifdef CONFIG_DEBUG
    version_print(NULL);
    orb_state_dump(NULL);
#endif

#if !defined(CONFIG_NO_JETSON_BOOT) || !CONFIG_NO_JETSON_BOOT
    wait_jetson_up();
#endif
    backup_clear_reboot_flag();

    /*
     * return early in case we are called from ztest or shell is activated
     * otherwise, infinite loop to print orb state at regular interval
     */
#if CONFIG_DEBUG && !CONFIG_ZTEST && !CONFIG_SHELL
    while (true) {
        orb_state_dump(NULL);
        k_sleep(K_SECONDS(30));
    }
#endif

    return 0;
}

#if CONFIG_ZTEST
void
test_main(void)
{
    (void)main_internal();
}

void
user_main(void)
{
    (void)main_internal();
}
#else
int
main(void)
{
    return main_internal();
}
#endif
```

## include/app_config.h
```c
#pragma once

///////////////////////////////////////
/// Threads config                  ///
///////////////////////////////////////

// work queue CONFIG_SYSTEM_WORKQUEUE_PRIORITY = -1

/// See other threads configured with KConfig: CONFIG_ORB_LIB_THREAD_*

// Power management thread
#define THREAD_PRIORITY_POWER_MANAGEMENT   3
#define THREAD_STACK_SIZE_POWER_MANAGEMENT 2048

// Runner / default message processing
// ⚠️ flash page buffer allocated on stack for CRC32 calculation
#define THREAD_PRIORITY_RUNNER   6
#define THREAD_STACK_SIZE_RUNNER 3500

// Front unit RGB LEDs
#define THREAD_PRIORITY_FRONT_UNIT_RGB_LEDS 5
#if defined(CONFIG_BOARD_DIAMOND_MAIN)
#define THREAD_STACK_SIZE_FRONT_UNIT_RGB_LEDS 1024
#else
#define THREAD_STACK_SIZE_FRONT_UNIT_RGB_LEDS 512
#endif

// Operator RGB LEDs
#define THREAD_PRIORITY_OPERATOR_RGB_LEDS 8
#if defined(CONFIG_BOARD_DIAMOND_MAIN)
#define THREAD_STACK_SIZE_OPERATOR_RGB_LEDS 1024
#else
#define THREAD_STACK_SIZE_OPERATOR_RGB_LEDS 512
#endif

#if defined(CONFIG_BOARD_DIAMOND_MAIN)
// Cone RGB LEDs
#define THREAD_PRIORITY_CONE_RGB_LEDS   7
#define THREAD_STACK_SIZE_CONE_RGB_LEDS 1024

// Cone button
#define THREAD_PRIORITY_CONE_BUTTON   8
#define THREAD_STACK_SIZE_CONE_BUTTON 592

// white LEDs
#define THREAD_PRIORITY_WHITE_LEDS   9
#define THREAD_STACK_SIZE_WHITE_LEDS 512
#endif

// Liquid Lens
#define THREAD_PRIORITY_LIQUID_LENS   7
#define THREAD_STACK_SIZE_LIQUID_LENS 512

// Temperature
#define THREAD_PRIORITY_TEMPERATURE   8
#define THREAD_STACK_SIZE_TEMPERATURE 2048

// Fan Tachometer
#define THREAD_PRIORITY_FAN_TACH   8
#define THREAD_STACK_SIZE_FAN_TACH 1024

// 1D ToF
#define THREAD_PRIORITY_1DTOF   9
#define THREAD_STACK_SIZE_1DTOF 1048

// ALS
#define THREAD_PRIORITY_ALS   11
#define THREAD_STACK_SIZE_ALS 900

#define THREAD_PRIORITY_MIRROR_INIT   12
#define THREAD_STACK_SIZE_MIRROR_INIT 2048 // * 2 threads (pearl)

// Polarizer Wheel Homing
#define THREAD_PRIORITY_POLARIZER_WHEEL        5
#define THREAD_STACK_SIZE_POLARIZER_WHEEL_HOME 2048

#define THREAD_PRIORITY_BATTERY   8
#define THREAD_STACK_SIZE_BATTERY 2048

// Publish stored messages
#define THREAD_PRIORITY_PUB_STORED   9
#define THREAD_STACK_SIZE_PUB_STORED (3000)

#define THREAD_PRIORITY_GNSS   12
#define THREAD_STACK_SIZE_GNSS 2048

#define THREAD_PRIORITY_VOLTAGE_MEASUREMENT_ADC1   10
#define THREAD_STACK_SIZE_VOLTAGE_MEASUREMENT_ADC1 512

#define THREAD_PRIORITY_VOLTAGE_MEASUREMENT_ADC4   10
#define THREAD_STACK_SIZE_VOLTAGE_MEASUREMENT_ADC4 512

#define THREAD_PRIORITY_VOLTAGE_MEASUREMENT_ADC5   10
#define THREAD_STACK_SIZE_VOLTAGE_MEASUREMENT_ADC5 512

#define THREAD_PRIORITY_VOLTAGE_MEASUREMENT_SELFTEST   12
#define THREAD_STACK_SIZE_VOLTAGE_MEASUREMENT_SELFTEST 1300

#define THREAD_PRIORITY_VOLTAGE_MEASUREMENT_PUBLISH   11
#define THREAD_STACK_SIZE_VOLTAGE_MEASUREMENT_PUBLISH 2048

// Testing threads
// - CAN
// - DFU
#define THREAD_PRIORITY_TESTS 9

// IR camera system test
#define THREAD_PRIORITY_IR_CAMERA_SYSTEM_TEST   9
#define THREAD_STACK_SIZE_IR_CAMERA_SYSTEM_TEST 512

// main thread priority                 10
// logging thread priority              14

#define SYS_INIT_UI_LEDS_PRIORITY               62
#define SYS_INIT_I2C1_INIT_PRIORITY             55
#define SYS_INIT_POWER_SUPPLY_INIT_PRIORITY     54
#define SYS_INIT_WAIT_FOR_BUTTON_PRESS_PRIORITY 53
#define SYS_INIT_IR_SAFETY_SELF_TEST_PRIORITY   52
#define SYS_INIT_GPIO_CONFIG_PRIORITY           51
#define SYS_INIT_HELLO_WORLD                    50
#define SYS_INIT_OP_LED_SELF_TEST_PRIORITY      48

///////////////////////////////////////
/// CAN bus config                  ///
///////////////////////////////////////

#ifndef CONFIG_CAN_ADDRESS_JETSON_TO_MCU_RX
#define CONFIG_CAN_ADDRESS_JETSON_TO_MCU_RX 0x01
#endif

#define CAMERA_EXPOSURE_COMPLETE_INTERRUPT_PRIO 5
#define LED_940NM_GLOBAL_INTERRUPT_PRIO         11
#define LED_850NM_GLOBAL_INTERRUPT_PRIO         11
```
